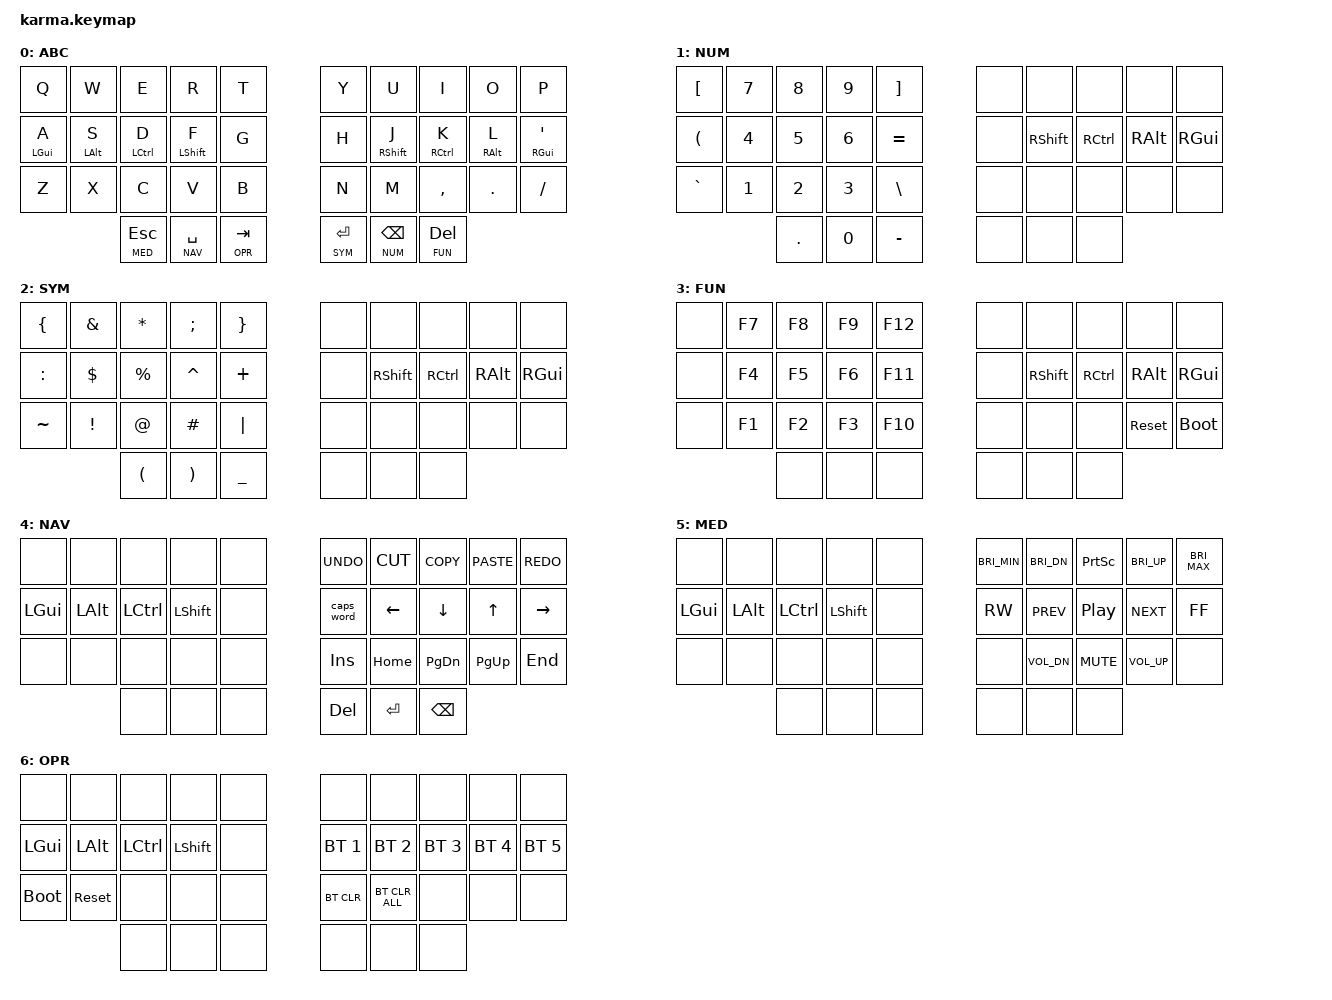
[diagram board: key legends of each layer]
#include <behaviors.dtsi>
#include <dt-bindings/zmk/keys.h>
#include <dt-bindings/zmk/bt.h>
#include <dt-bindings/zmk/ext_power.h>
#include <dt-bindings/zmk/outputs.h>

#define ABC 0
#define NUM 1
#define SYM 2
#define FUN 3
#define NAV 4
#define MED 5
#define OPR 6

&mt {
  flavor = "balanced";
  quick-tap-ms = <150>;
  tapping-term-ms = <150>;
};

&caps_word {
  continue-list = <UNDERSCORE MINUS BACKSPACE>;
};

/ {
    combos {
            compatible = "zmk,combos";
    };

    macros {
    };

    keymap {
            compatible = "zmk,keymap";
            abc_layer {
                label= "ABC";
                bindings = <
                    &kp Q       &kp W       &kp E       &kp R         &kp T         &kp Y       &kp U       &kp I       &kp O       &kp P
                    &mt LGUI A  &mt LALT S  &mt LCTRL D &mt LSHFT F   &kp G         &kp H       &mt RSHFT J &mt RCTRL K &mt RALT L  &mt RGUI SQT
                    &kp Z       &kp X       &kp C       &kp V         &kp B         &kp N       &kp M       &kp COMMA   &kp DOT     &kp FSLH
                                            &lt MED ESC &lt NAV SPACE &lt OPR TAB   &lt SYM RET &lt NUM BSPC &lt FUN DEL
                >;
            };

            num_layer {
                label= "NUM";
                bindings = <
                    &kp LBKT     &kp N7      &kp N8      &kp N9      &kp RBKT       &none       &none       &none       &none       &none 
                    &kp LPAR     &kp N4      &kp N5      &kp N6      &kp EQUAL      &none       &kp RSHFT   &kp RCTRL   &kp RALT    &kp RGUI
                    &kp GRAVE    &kp N1      &kp N2      &kp N3      &kp BSLH       &none       &none       &none       &none       &none
                                                &kp DOT     &kp N0      &kp MINUS      &none       &none       &none 
                >;
            };

            sym_layer {
                label= "SYM";
                bindings = <
                    &kp LBRC   &kp AMPS    &kp ASTRK   &kp SEMI    &kp RBRC        &none       &none       &none       &none       &none
                    &kp COLON    &kp DLLR    &kp PRCNT   &kp CARET   &kp PLUS        &none       &kp RSHFT   &kp RCTRL   &kp RALT    &kp RGUI
                    &kp TILDE      &kp EXCL    &kp AT      &kp HASH    &kp PIPE          &none       &none       &none       &none       &none
                                            &kp LPAR    &kp RPAR    &kp UNDER       &none       &none       &none
                >;
            };

            fun_layer {
                label= "FUN";
                bindings = <
                    &none       &kp F7      &kp F8      &kp F9      &kp F12        &none       &none       &none       &none       &none
                    &none       &kp F4      &kp F5      &kp F6      &kp F11        &none       &kp RSHFT   &kp RCTRL   &kp RALT    &kp RGUI
                    &none       &kp F1      &kp F2      &kp F3      &kp F10        &none       &none       &none       &sys_reset  &bootloader
                                            &none       &none       &none          &none       &none       &none
                >;
            };

            nav_layer {
                label= "NAV";
                bindings = <
                    &none       &none       &none       &none       &none           &kp K_UNDO   &kp K_CUT   &kp K_COPY  &kp K_PASTE &kp K_REDO
                    &kp LGUI    &kp LALT    &kp LCTRL   &kp LSHFT   &none           &caps_word   &kp LEFT    &kp DOWN    &kp UP      &kp RIGHT
                    &none       &none       &none       &none       &none           &kp INS      &kp HOME    &kp PG_DN   &kp PG_UP   &kp END      
                                            &none       &none       &none           &kp DEL      &kp RET     &kp BSPC
                >;
            };

            med_layer {
                label= "MED";
                bindings = <
                    &none       &none       &none       &none       &none           &kp C_BRI_MIN &kp C_BRI_DN &kp PSCRN &kp C_BRI_UP &kp C_BRI_MAX       
                    &kp LGUI    &kp LALT    &kp LCTRL   &kp LSHFT   &none           &kp C_RW    &kp C_PREV   &kp C_PP    &kp C_NEXT   &kp C_FF 
                    &none       &none       &none       &none       &none           &none       &kp C_VOL_DN &kp C_MUTE  &kp C_VOL_UP &none      
                                            &none       &none       &none           &none       &none       &none
                >;
            };

            opr_layer {
                label= "OPR";
                bindings = <
                    &none       &none       &none       &none       &none           &none        &none        &none        &none        &none                  
                    &kp LGUI    &kp LALT    &kp LCTRL   &kp LSHFT   &none           &bt BT_SEL 1 &bt BT_SEL 2 &bt BT_SEL 3 &bt BT_SEL 4 &bt BT_SEL 5       
                    &bootloader &sys_reset  &none       &none       &none           &bt BT_CLR   &bt BT_CLR_ALL &none       &none        &none
                                            &none       &none       &none           &none        &none        &none               
                >;
            };
    };
};
